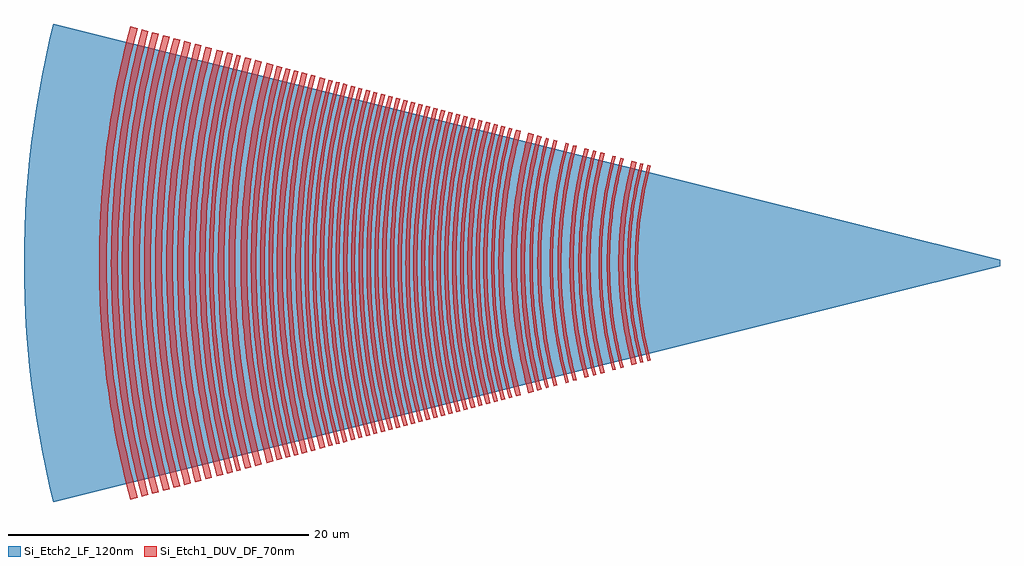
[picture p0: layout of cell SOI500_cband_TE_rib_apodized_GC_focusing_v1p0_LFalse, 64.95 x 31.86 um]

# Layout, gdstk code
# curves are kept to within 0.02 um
import gdstk
lib = gdstk.Library(unit=1e-6, precision=1e-09)
def P(c, l, *ps):  # polygons
    for p in ps: c.add(gdstk.Polygon(p, *l))
Si_Etch2_LF_120nm = (3, 0)
Si_Etch1_DUV_DF_70nm = (6, 0)

soi500_cband_te_rib_apod = lib.new_cell('SOI500_cband_TE_rib_apodized_GC_focusing_v1p0_LFalse')
P(soi500_cband_te_rib_apod, Si_Etch2_LF_120nm, [(-62.994,-15.931),(-63.511,-13.691),(-63.95,-11.435),(-64.459,-8.025),(-64.79,-4.594),(-64.91,-2.298),(-64.95,0),(-64.91,2.298),(-64.79,4.594),(-64.459,8.025),(-63.95,11.435),(-63.511,13.691),(-62.994,15.931),(0,0.225),(0,-0.225)])
P(soi500_cband_te_rib_apod, Si_Etch1_DUV_DF_70nm, [(-23.439,-6.522),(-23.835,-4.808),(-24.111,-3.071),(-24.251,-1.538),(-24.298,0),(-24.251,1.538),(-24.111,3.071),(-23.835,4.808),(-23.439,6.522),(-23.246,6.47),(-23.639,4.77),(-23.884,3.263),(-24.037,1.744),(-24.098,0),(-24.037,-1.744),(-23.884,-3.263),(-23.639,-4.77),(-23.246,-6.47)],
  [(-23.934,-6.653),(-24.293,-5.126),(-24.589,-3.356),(-24.747,-1.794),(-24.809,0),(-24.747,1.794),(-24.589,3.356),(-24.293,5.126),(-23.934,6.653),(-23.74,6.603),(-24.097,5.086),(-24.391,3.33),(-24.547,1.78),(-24.609,0),(-24.547,-1.78),(-24.391,-3.33),(-24.097,-5.086),(-23.74,-6.603)],
  [(-24.5,-6.805),(-24.913,-5.018),(-25.171,-3.433),(-25.332,-1.835),(-25.396,0),(-25.332,1.835),(-25.171,3.433),(-24.913,5.018),(-24.5,6.805),(-24.174,6.719),(-24.538,5.176),(-24.837,3.389),(-25.011,1.585),(-25.059,0),(-25.011,-1.585),(-24.837,-3.389),(-24.538,-5.176),(-24.174,-6.719)],
  [(-25.239,-7.003),(-25.662,-5.164),(-25.959,-3.298),(-26.11,-1.652),(-26.16,0),(-26.11,1.652),(-25.959,3.298),(-25.662,5.164),(-25.239,7.003),(-25.045,6.952),(-25.421,5.355),(-25.73,3.506),(-25.895,1.874),(-25.96,0),(-25.895,-1.874),(-25.73,-3.506),(-25.421,-5.355),(-25.045,-6.952)],
  [(-25.766,-7.145),(-26.153,-5.504),(-26.471,-3.604),(-26.656,-1.685),(-26.707,0),(-26.656,1.685),(-26.471,3.604),(-26.153,5.504),(-25.766,7.145),(-25.573,7.094),(-25.957,5.464),(-26.273,3.578),(-26.456,1.673),(-26.507,0),(-26.456,-1.673),(-26.273,-3.578),(-25.957,-5.464),(-25.573,-7.094)],
  [(-26.569,-7.36),(-27.016,-5.426),(-27.295,-3.712),(-27.468,-1.983),(-27.538,0),(-27.468,1.983),(-27.295,3.712),(-27.016,5.426),(-26.569,7.36),(-26.298,7.288),(-26.741,5.373),(-27.017,3.676),(-27.189,1.964),(-27.258,0),(-27.189,-1.964),(-27.017,-3.676),(-26.741,-5.373),(-26.298,-7.288)],
  [(-27.067,-7.494),(-27.473,-5.773),(-27.806,-3.779),(-27.984,-2.02),(-28.054,0),(-27.984,2.02),(-27.806,3.779),(-27.473,5.773),(-27.067,7.494),(-26.874,7.443),(-27.326,5.487),(-27.608,3.753),(-27.784,2.006),(-27.854,0),(-27.784,-2.006),(-27.608,-3.753),(-27.326,-5.487),(-26.874,-7.443)],
  [(-27.643,-7.647),(-28.107,-5.639),(-28.398,-3.858),(-28.578,-2.061),(-28.65,0),(-28.578,2.061),(-28.398,3.858),(-28.107,5.639),(-27.643,7.647),(-27.379,7.578),(-27.839,5.587),(-28.127,3.822),(-28.306,2.042),(-28.377,0),(-28.306,-2.042),(-28.127,-3.822),(-27.839,-5.587),(-27.379,-7.578)],
  [(-28.402,-7.85),(-28.878,-5.789),(-29.176,-3.96),(-29.379,-1.852),(-29.435,0),(-29.379,1.852),(-29.176,3.96),(-28.878,5.789),(-28.402,7.85),(-28.165,7.788),(-28.586,5.999),(-28.933,3.928),(-29.117,2.099),(-29.19,0),(-29.117,-2.099),(-28.933,-3.928),(-28.586,-5.999),(-28.165,-7.788)],
  [(-28.906,-7.986),(-29.391,-5.888),(-29.694,-4.028),(-29.901,-1.884),(-29.958,0),(-29.901,1.884),(-29.694,4.028),(-29.391,5.888),(-28.906,7.986),(-28.713,7.935),(-29.195,5.85),(-29.496,4.002),(-29.701,1.872),(-29.758,0),(-29.701,-1.872),(-29.496,-4.002),(-29.195,-5.85),(-28.713,-7.935)],
  [(-29.702,-8.199),(-30.199,-6.045),(-30.51,-4.136),(-30.722,-1.935),(-30.781,0),(-30.722,1.935),(-30.51,4.136),(-30.199,6.045),(-29.702,8.199),(-29.473,8.139),(-29.913,6.269),(-30.275,4.105),(-30.485,1.92),(-30.544,0),(-30.485,-1.92),(-30.275,-4.105),(-29.913,-6.269),(-29.473,-8.139)],
  [(-30.207,-8.336),(-30.48,-7.245),(-30.713,-6.145),(-31.029,-4.204),(-31.227,-2.247),(-31.286,-1.124),(-31.305,0),(-31.286,1.124),(-31.227,2.247),(-31.029,4.204),(-30.713,6.145),(-30.48,7.245),(-30.207,8.336),(-30.014,8.284),(-30.285,7.2),(-30.517,6.107),(-30.831,4.178),(-31.027,2.233),(-31.086,1.117),(-31.105,0),(-31.086,-1.117),(-31.027,-2.233),(-30.831,-4.178),(-30.517,-6.107),(-30.285,-7.2),(-30.014,-8.284)],
  [(-30.787,-8.49),(-31.065,-7.38),(-31.303,-6.26),(-31.625,-4.282),(-31.825,-2.288),(-31.885,-1.145),(-31.905,0),(-31.885,1.145),(-31.825,2.288),(-31.625,4.282),(-31.303,6.26),(-31.065,7.38),(-30.787,8.49),(-30.507,8.416),(-30.782,7.315),(-31.018,6.205),(-31.337,4.244),(-31.536,2.268),(-31.615,0),(-31.536,-2.268),(-31.337,-4.244),(-31.018,-6.205),(-30.782,-7.315),(-30.507,-8.416)],
  [(-31.395,-8.652),(-31.919,-6.38),(-32.247,-4.365),(-32.451,-2.332),(-32.513,-1.167),(-32.533,0),(-32.513,1.167),(-32.451,2.332),(-32.247,4.365),(-31.919,6.38),(-31.395,8.652),(-31.029,8.556),(-31.548,6.308),(-31.872,4.315),(-32.003,3.168),(-32.093,2.018),(-32.155,0),(-32.093,-2.018),(-32.003,-3.168),(-31.872,-4.315),(-31.548,-6.308),(-31.029,-8.556)],
  [(-32.208,-8.871),(-32.498,-7.711),(-32.746,-6.542),(-33.083,-4.474),(-33.218,-3.286),(-33.312,-2.092),(-33.376,0),(-33.312,2.092),(-33.218,3.286),(-33.083,4.474),(-32.746,6.542),(-32.498,7.711),(-32.208,8.871),(-31.889,8.786),(-32.176,7.637),(-32.422,6.478),(-32.756,4.431),(-32.89,3.254),(-32.983,2.072),(-33.046,0),(-32.983,-2.072),(-32.89,-3.254),(-32.756,-4.431),(-32.422,-6.478),(-32.176,-7.637),(-31.889,-8.786)],
  [(-32.668,-8.993),(-33.153,-6.929),(-33.374,-5.736),(-33.553,-4.536),(-33.691,-3.331),(-33.787,-2.121),(-33.851,0),(-33.787,2.121),(-33.691,3.331),(-33.553,4.536),(-33.374,5.736),(-33.153,6.929),(-32.668,8.993),(-32.474,8.943),(-32.832,7.479),(-33.072,6.297),(-33.315,4.809),(-33.462,3.612),(-33.604,1.808),(-33.651,0),(-33.604,-1.808),(-33.462,-3.612),(-33.315,-4.809),(-33.072,-6.297),(-32.832,-7.479),(-32.474,-8.943)],
  [(-33.183,-9.132),(-33.678,-7.034),(-33.902,-5.824),(-34.084,-4.606),(-34.224,-3.382),(-34.321,-2.154),(-34.386,0),(-34.321,2.154),(-34.224,3.382),(-34.084,4.606),(-33.902,5.824),(-33.678,7.034),(-33.183,9.132),(-32.932,9.066),(-33.423,6.983),(-33.646,5.781),(-33.826,4.572),(-34.041,2.443),(-34.105,1.222),(-34.126,0),(-34.105,-1.222),(-34.041,-2.443),(-33.826,-4.572),(-33.646,-5.781),(-33.423,-6.983),(-32.932,-9.066)],
  [(-33.67,-9.262),(-34.171,-7.136),(-34.399,-5.907),(-34.583,-4.672),(-34.724,-3.43),(-34.823,-2.186),(-34.889,0),(-34.823,2.186),(-34.724,3.43),(-34.583,4.672),(-34.399,5.907),(-34.171,7.136),(-33.67,9.262),(-33.425,9.198),(-33.923,7.085),(-34.149,5.865),(-34.332,4.639),(-34.472,3.406),(-34.57,2.17),(-34.636,0),(-34.57,-2.17),(-34.472,-3.406),(-34.332,-4.639),(-34.149,-5.865),(-33.923,-7.085),(-33.425,-9.198)],
  [(-34.204,-9.405),(-34.51,-8.175),(-34.774,-6.935),(-35.131,-4.743),(-35.275,-3.483),(-35.374,-2.219),(-35.442,0),(-35.374,2.219),(-35.275,3.483),(-35.131,4.743),(-34.774,6.935),(-34.51,8.175),(-34.204,9.405),(-33.911,9.328),(-34.215,8.107),(-34.477,6.877),(-34.831,4.704),(-34.973,3.454),(-35.072,2.2),(-35.139,0),(-35.072,-2.2),(-34.973,-3.454),(-34.831,-4.704),(-34.477,-6.877),(-34.215,-8.107),(-33.911,-9.328)],
  [(-34.673,-9.531),(-34.984,-8.285),(-35.252,-7.027),(-35.613,-4.807),(-35.759,-3.53),(-35.86,-2.248),(-35.928,0),(-35.86,2.248),(-35.759,3.53),(-35.613,4.807),(-35.252,7.027),(-34.984,8.285),(-34.673,9.531),(-34.445,9.471),(-34.754,8.232),(-35.02,6.982),(-35.379,4.776),(-35.524,3.507),(-35.624,2.234),(-35.692,0),(-35.624,-2.234),(-35.524,-3.507),(-35.379,-4.776),(-35.02,-6.982),(-34.754,-8.232),(-34.445,-9.471)],
  [(-35.194,-9.67),(-35.509,-8.406),(-35.78,-7.13),(-36.147,-4.878),(-36.375,-2.607),(-36.443,-1.304),(-36.466,0),(-36.443,1.304),(-36.375,2.607),(-36.147,4.878),(-35.78,7.13),(-35.509,8.406),(-35.194,9.67),(-34.915,9.597),(-35.434,7.393),(-35.669,6.12),(-35.861,4.84),(-36.088,2.587),(-36.155,1.294),(-36.178,0),(-36.155,-1.294),(-36.088,-2.587),(-35.861,-4.84),(-35.669,-6.12),(-35.434,-7.393),(-34.915,-9.597)],
  [(-35.684,-9.802),(-36.215,-7.552),(-36.455,-6.252),(-36.651,-4.944),(-36.801,-3.631),(-36.905,-2.313),(-36.975,0),(-36.905,2.313),(-36.801,3.631),(-36.651,4.944),(-36.455,6.252),(-36.215,7.552),(-35.684,9.802),(-35.434,9.736),(-35.961,7.5),(-36.2,6.209),(-36.394,4.91),(-36.543,3.606),(-36.646,2.297),(-36.716,0),(-36.646,-2.297),(-36.543,-3.606),(-36.394,-4.91),(-36.2,-6.209),(-35.961,-7.5),(-35.434,-9.736)],
  [(-36.178,-9.935),(-36.716,-7.653),(-36.959,-6.336),(-37.158,-5.011),(-37.309,-3.679),(-37.415,-2.344),(-37.486,0),(-37.415,2.344),(-37.309,3.679),(-37.158,5.011),(-36.959,6.336),(-36.716,7.653),(-36.178,9.935),(-35.926,9.868),(-36.46,7.601),(-36.702,6.293),(-36.899,4.977),(-37.049,3.654),(-37.154,2.328),(-37.225,0),(-37.154,-2.328),(-37.049,-3.654),(-36.899,-4.977),(-36.702,-6.293),(-36.46,-7.601),(-35.926,-9.868)],
  [(-36.689,-10.071),(-37.018,-8.755),(-37.3,-7.425),(-37.682,-5.079),(-37.92,-2.714),(-37.991,-1.358),(-38.015,0),(-37.991,1.358),(-37.92,2.714),(-37.682,5.079),(-37.3,7.425),(-37.018,8.755),(-36.689,10.071),(-36.419,10),(-36.746,8.692),(-37.026,7.372),(-37.405,5.043),(-37.642,2.695),(-37.712,1.348),(-37.736,0),(-37.712,-1.348),(-37.642,-2.695),(-37.405,-5.043),(-37.026,-7.372),(-36.746,-8.692),(-36.419,-10)],
  [(-37.182,-10.204),(-37.735,-7.861),(-37.985,-6.507),(-38.189,-5.146),(-38.345,-3.779),(-38.453,-2.407),(-38.526,0),(-38.453,2.407),(-38.345,3.779),(-38.189,5.146),(-37.985,6.507),(-37.735,7.861),(-37.182,10.204),(-36.93,10.137),(-37.479,7.809),(-37.728,6.464),(-37.93,5.112),(-38.17,2.732),(-38.241,1.367),(-38.265,0),(-38.241,-1.367),(-38.17,-2.732),(-37.93,-5.112),(-37.728,-6.464),(-37.479,-7.809),(-36.93,-10.137)],
  [(-37.684,-10.338),(-38.243,-7.965),(-38.497,-6.593),(-38.704,-5.214),(-38.861,-3.829),(-38.97,-2.439),(-39.045,0),(-38.97,2.439),(-38.861,3.829),(-38.704,5.214),(-38.497,6.593),(-38.243,7.965),(-37.684,10.338),(-37.424,10.269),(-37.759,8.926),(-38.047,7.571),(-38.437,5.179),(-38.593,3.803),(-38.702,2.422),(-38.776,0),(-38.702,-2.422),(-38.593,-3.803),(-38.437,-5.179),(-38.047,-7.571),(-37.759,-8.926),(-37.424,-10.269)],
  [(-38.184,-10.473),(-38.751,-8.067),(-39.008,-6.678),(-39.217,-5.282),(-39.464,-2.823),(-39.539,-1.412),(-39.563,0),(-39.539,1.412),(-39.464,2.823),(-39.217,5.282),(-39.008,6.678),(-38.751,8.067),(-38.184,10.473),(-37.925,10.404),(-38.488,8.014),(-38.744,6.634),(-38.951,5.247),(-39.11,3.853),(-39.22,2.454),(-39.295,0),(-39.22,-2.454),(-39.11,-3.853),(-38.951,-5.247),(-38.744,-6.634),(-38.488,-8.014),(-37.925,-10.404)],
  [(-38.68,-10.605),(-39.254,-8.17),(-39.514,-6.764),(-39.726,-5.348),(-39.888,-3.927),(-40,-2.502),(-40.076,0),(-40,2.502),(-39.888,3.927),(-39.726,5.348),(-39.514,6.764),(-39.254,8.17),(-38.68,10.605),(-38.426,10.538),(-38.996,8.117),(-39.255,6.72),(-39.465,5.314),(-39.714,2.84),(-39.788,1.421),(-39.813,0),(-39.788,-1.421),(-39.714,-2.84),(-39.465,-5.314),(-39.255,-6.72),(-38.996,-8.117),(-38.426,-10.538)],
  [(-39.172,-10.737),(-39.522,-9.333),(-39.824,-7.917),(-40.231,-5.415),(-40.395,-3.977),(-40.509,-2.533),(-40.586,0),(-40.509,2.533),(-40.395,3.977),(-40.231,5.415),(-39.824,7.917),(-39.522,9.333),(-39.172,10.737),(-38.921,10.671),(-39.269,9.274),(-39.569,7.867),(-39.973,5.381),(-40.226,2.876),(-40.301,1.439),(-40.326,0),(-40.301,-1.439),(-40.226,-2.876),(-39.973,-5.381),(-39.569,-7.867),(-39.269,-9.274),(-38.921,-10.671)],
  [(-39.687,-10.875),(-40.041,-9.452),(-40.346,-8.018),(-40.759,-5.485),(-40.925,-4.027),(-41.039,-2.565),(-41.093,-1.467),(-41.118,0),(-41.093,1.467),(-41.039,2.565),(-40.925,4.027),(-40.759,5.485),(-40.346,8.018),(-40.041,9.452),(-39.687,10.875),(-39.414,10.803),(-39.998,8.321),(-40.264,6.889),(-40.479,5.448),(-40.644,4),(-40.758,2.548),(-40.836,0),(-40.758,-2.548),(-40.644,-4),(-40.479,-5.448),(-40.069,-7.964),(-39.766,-9.389),(-39.414,-10.803)],
  [(-40.174,-11.005),(-40.768,-8.478),(-41.039,-7.019),(-41.258,-5.55),(-41.426,-4.075),(-41.543,-2.596),(-41.622,0),(-41.543,2.596),(-41.426,4.075),(-41.258,5.55),(-41.039,7.019),(-40.768,8.478),(-40.174,11.005),(-39.928,10.94),(-40.285,9.509),(-40.591,8.065),(-40.848,6.612),(-41.006,5.517),(-41.265,2.949),(-41.342,1.475),(-41.368,0),(-41.342,-1.475),(-41.265,-2.949),(-41.006,-5.517),(-40.848,-6.612),(-40.591,-8.065),(-40.285,-9.509),(-39.928,-10.94)],
  [(-40.686,-11.142),(-41.049,-9.685),(-41.361,-8.216),(-41.784,-5.619),(-42.047,-3.003),(-42.126,-1.503),(-42.152,0),(-42.126,1.503),(-42.047,3.003),(-41.784,5.619),(-41.361,8.216),(-41.049,9.685),(-40.686,11.142),(-40.415,11.071),(-40.776,9.622),(-41.086,8.162),(-41.506,5.583),(-41.768,2.984),(-41.846,1.493),(-41.872,0),(-41.846,-1.493),(-41.768,-2.984),(-41.506,-5.583),(-41.086,-8.162),(-40.776,-9.622),(-40.415,-11.071)],
  [(-41.19,-11.278),(-41.801,-8.687),(-42.077,-7.192),(-42.303,-5.687),(-42.437,-4.556),(-42.569,-3.04),(-42.649,-1.52),(-42.675,0),(-42.649,1.52),(-42.569,3.04),(-42.437,4.556),(-42.303,5.687),(-42.077,7.192),(-41.801,8.687),(-41.19,11.278),(-40.926,11.208),(-41.206,10.109),(-41.533,8.633),(-41.808,7.147),(-42.032,5.652),(-42.297,3.021),(-42.376,1.511),(-42.402,0),(-42.376,-1.511),(-42.297,-3.021),(-42.032,-5.652),(-41.808,-7.147),(-41.533,-8.633),(-41.206,-10.109),(-40.926,-11.208)],
  [(-41.677,-11.407),(-42.049,-9.916),(-42.293,-8.789),(-42.574,-7.276),(-42.801,-5.754),(-42.975,-4.225),(-43.096,-2.692),(-43.163,-1.154),(-43.178,0),(-43.163,1.154),(-43.096,2.692),(-42.975,4.225),(-42.801,5.754),(-42.574,7.276),(-42.293,8.789),(-42.049,9.916),(-41.677,11.407),(-41.432,11.343),(-41.802,9.859),(-42.191,7.987),(-42.444,6.478),(-42.685,4.581),(-42.865,2.294),(-42.925,0),(-42.865,-2.294),(-42.685,-4.581),(-42.444,-6.478),(-42.191,-7.987),(-41.802,-9.859),(-41.432,-11.343)],
  [(-42.188,-11.545),(-42.565,-10.035),(-42.889,-8.513),(-43.327,-5.823),(-43.503,-4.276),(-43.599,-3.112),(-43.681,-1.557),(-43.708,0),(-43.681,1.557),(-43.599,3.112),(-43.503,4.276),(-43.327,5.823),(-42.889,8.513),(-42.565,10.035),(-42.188,11.545),(-41.917,11.473),(-42.292,9.972),(-42.614,8.459),(-43.049,5.786),(-43.224,4.249),(-43.32,3.092),(-43.401,1.547),(-43.428,0),(-43.401,-1.547),(-43.32,-3.092),(-43.224,-4.249),(-43.049,-5.786),(-42.614,-8.459),(-42.292,-9.972),(-41.917,-11.473)],
  [(-42.671,-11.675),(-43.052,-10.147),(-43.379,-8.608),(-43.59,-7.446),(-43.822,-5.888),(-44,-4.324),(-44.124,-2.754),(-44.181,-1.575),(-44.208,0),(-44.181,1.575),(-44.124,2.754),(-44,4.324),(-43.822,5.888),(-43.59,7.446),(-43.379,8.608),(-43.052,10.147),(-42.671,11.675),(-42.429,11.611),(-42.808,10.091),(-43.134,8.56),(-43.406,7.018),(-43.67,5.078),(-43.82,3.52),(-43.897,2.348),(-43.958,0),(-43.897,-2.348),(-43.82,-3.52),(-43.67,-5.078),(-43.406,-7.018),(-43.134,-8.56),(-42.808,-10.091),(-42.429,-11.611)],
  [(-43.174,-11.809),(-43.559,-10.265),(-43.891,-8.707),(-44.103,-7.531),(-44.339,-5.956),(-44.519,-4.374),(-44.643,-2.786),(-44.701,-1.592),(-44.729,0),(-44.701,1.592),(-44.643,2.786),(-44.519,4.374),(-44.339,5.956),(-44.167,7.138),(-43.891,8.707),(-43.559,10.265),(-43.174,11.809),(-42.916,11.741),(-43.387,9.819),(-43.702,8.267),(-44.021,6.313),(-44.213,4.742),(-44.4,2.374),(-44.462,0),(-44.4,-2.374),(-44.213,-4.742),(-44.021,-6.313),(-43.702,-8.267),(-43.387,-9.819),(-42.916,-11.741)],
  [(-43.692,-11.948),(-44.082,-10.385),(-44.417,-8.809),(-44.697,-7.222),(-44.87,-6.026),(-45.053,-4.424),(-45.152,-3.22),(-45.237,-1.612),(-45.265,0),(-45.237,1.612),(-45.152,3.22),(-45.053,4.424),(-44.87,6.026),(-44.697,7.222),(-44.417,8.809),(-44.082,10.385),(-43.692,11.948),(-43.423,11.877),(-43.811,10.323),(-44.066,9.149),(-44.358,7.574),(-44.594,5.99),(-44.736,4.797),(-44.875,3.201),(-44.959,1.602),(-44.987,0),(-44.959,-1.602),(-44.875,-3.201),(-44.736,-4.797),(-44.594,-5.99),(-44.358,-7.574),(-44.066,-9.149),(-43.811,-10.323),(-43.423,-11.877)],
  [(-44.164,-12.074),(-44.558,-10.495),(-44.897,-8.903),(-45.114,-7.701),(-45.355,-6.09),(-45.539,-4.472),(-45.667,-2.848),(-45.726,-1.628),(-45.754,0),(-45.726,1.628),(-45.667,2.848),(-45.539,4.472),(-45.355,6.09),(-45.114,7.701),(-44.897,8.903),(-44.558,10.495),(-44.164,12.074),(-43.943,12.016),(-44.335,10.444),(-44.748,8.461),(-45.015,6.862),(-45.227,5.256),(-45.382,3.643),(-45.461,2.43),(-45.525,0),(-45.461,-2.43),(-45.382,-3.643),(-45.227,-5.256),(-45.015,-6.862),(-44.748,-8.461),(-44.335,-10.444),(-43.943,-12.016)],
  [(-44.668,-12.21),(-44.973,-11.013),(-45.329,-9.406),(-45.629,-7.787),(-45.873,-6.158),(-46.059,-4.522),(-46.188,-2.88),(-46.26,-1.235),(-46.276,0),(-46.26,1.235),(-46.188,2.88),(-46.059,4.522),(-45.873,6.158),(-45.629,7.787),(-45.329,9.406),(-44.973,11.013),(-44.668,12.21),(-44.418,12.144),(-44.905,10.155),(-45.231,8.55),(-45.502,6.935),(-45.76,4.904),(-45.953,2.456),(-46.017,0),(-45.953,-2.456),(-45.76,-4.904),(-45.502,-6.935),(-45.231,-8.55),(-44.905,-10.155),(-44.418,-12.144)],
  [(-45.257,-12.366),(-45.565,-11.156),(-45.926,-9.528),(-46.23,-7.887),(-46.476,-6.238),(-46.665,-4.581),(-46.796,-2.917),(-46.869,-1.252),(-46.885,0),(-46.869,1.252),(-46.796,2.917),(-46.665,4.581),(-46.476,6.238),(-46.23,7.887),(-45.926,9.528),(-45.565,11.156),(-45.257,12.366),(-44.91,12.275),(-45.31,10.669),(-45.655,9.05),(-45.876,7.828),(-46.12,6.191),(-46.308,4.546),(-46.438,2.895),(-46.51,1.242),(-46.526,0),(-46.51,-1.242),(-46.438,-2.895),(-46.308,-4.546),(-46.12,-6.191),(-45.876,-7.828),(-45.655,-9.05),(-45.31,-10.669),(-44.91,-12.275)],
  [(-45.847,-12.525),(-46.159,-11.298),(-46.525,-9.649),(-46.832,-7.988),(-47.082,-6.317),(-47.274,-4.639),(-47.378,-3.376),(-47.467,-1.689),(-47.496,0),(-47.467,1.689),(-47.378,3.376),(-47.274,4.639),(-47.082,6.317),(-46.832,7.988),(-46.525,9.649),(-46.159,11.298),(-45.847,12.525),(-45.552,12.447),(-45.862,11.227),(-46.226,9.588),(-46.531,7.938),(-46.78,6.277),(-46.97,4.61),(-47.074,3.355),(-47.162,1.678),(-47.191,0),(-47.162,-1.678),(-47.074,-3.355),(-46.97,-4.61),(-46.78,-6.277),(-46.531,-7.938),(-46.226,-9.588),(-45.862,-11.227),(-45.552,-12.447)],
  [(-46.452,-12.687),(-46.865,-11.028),(-47.221,-9.354),(-47.45,-8.091),(-47.703,-6.399),(-47.896,-4.699),(-48.03,-2.993),(-48.092,-1.711),(-48.122,0),(-48.092,1.711),(-48.03,2.993),(-47.896,4.699),(-47.703,6.399),(-47.45,8.091),(-47.221,9.354),(-46.865,11.028),(-46.452,12.687),(-46.088,12.591),(-46.499,10.943),(-46.852,9.282),(-47.079,8.029),(-47.33,6.35),(-47.522,4.663),(-47.655,2.97),(-47.716,1.698),(-47.746,0),(-47.716,-1.698),(-47.655,-2.97),(-47.522,-4.663),(-47.33,-6.35),(-47.079,-8.029),(-46.852,-9.282),(-46.499,-10.943),(-46.088,-12.591)],
  [(-46.976,-12.827),(-47.394,-11.15),(-47.669,-9.881),(-47.984,-8.181),(-48.24,-6.47),(-48.436,-4.751),(-48.543,-3.457),(-48.634,-1.73),(-48.664,0),(-48.634,1.73),(-48.543,3.457),(-48.436,4.751),(-48.24,6.47),(-47.984,8.181),(-47.669,9.881),(-47.394,11.15),(-46.976,12.827),(-46.706,12.756),(-47.217,10.668),(-47.56,8.982),(-47.844,7.285),(-48.115,5.152),(-48.317,2.579),(-48.385,0),(-48.317,-2.579),(-48.115,-5.152),(-47.844,-7.285),(-47.56,-8.982),(-47.217,-10.668),(-46.706,-12.756)],
  [(-47.529,-12.975),(-47.952,-11.279),(-48.231,-9.996),(-48.55,-8.275),(-48.808,-6.544),(-49.007,-4.805),(-49.115,-3.498),(-49.207,-1.75),(-49.237,0),(-49.207,1.75),(-49.115,3.498),(-49.007,4.805),(-48.808,6.544),(-48.55,8.275),(-48.231,9.996),(-47.952,11.279),(-47.529,12.975),(-47.224,12.895),(-47.645,11.208),(-48.007,9.507),(-48.309,7.794),(-48.496,6.503),(-48.693,4.775),(-48.801,3.476),(-48.892,1.739),(-48.922,0),(-48.892,-1.739),(-48.801,-3.476),(-48.693,-4.775),(-48.496,-6.503),(-48.309,-7.794),(-48.007,-9.507),(-47.645,-11.208),(-47.224,-12.895)],
  [(-48.12,-13.134),(-48.549,-11.416),(-48.83,-10.118),(-49.153,-8.377),(-49.415,-6.624),(-49.615,-4.865),(-49.754,-3.098),(-49.832,-1.328),(-49.849,0),(-49.832,1.328),(-49.754,3.098),(-49.615,4.865),(-49.415,6.624),(-49.153,8.377),(-48.83,10.118),(-48.549,11.416),(-48.12,13.134),(-47.77,13.042),(-48.196,11.335),(-48.561,9.615),(-48.867,7.883),(-49.056,6.577),(-49.255,4.83),(-49.393,3.076),(-49.47,1.319),(-49.487,0),(-49.47,-1.319),(-49.393,-3.076),(-49.255,-4.83),(-49.056,-6.577),(-48.867,-7.883),(-48.561,-9.615),(-48.196,-11.335),(-47.77,-13.042)],
  [(-48.785,-13.311),(-49.219,-11.571),(-49.592,-9.815),(-49.832,-8.49),(-50.097,-6.714),(-50.256,-5.377),(-50.412,-3.588),(-50.506,-1.796),(-50.537,0),(-50.506,1.796),(-50.412,3.588),(-50.256,5.377),(-50.097,6.714),(-49.832,8.49),(-49.592,9.815),(-49.219,11.571),(-48.785,13.311),(-48.362,13.2),(-48.793,11.473),(-49.163,9.732),(-49.401,8.418),(-49.664,6.657),(-49.821,5.331),(-49.976,3.558),(-50.069,1.78),(-50.1,0),(-50.069,-1.78),(-49.976,-3.558),(-49.821,-5.331),(-49.664,-6.657),(-49.401,-8.418),(-49.163,-9.732),(-48.793,-11.473),(-48.362,-13.2)],
  [(-49.554,-13.518),(-49.994,-11.75),(-50.373,-9.968),(-50.617,-8.621),(-50.886,-6.818),(-51.093,-5.006),(-51.206,-3.644),(-51.301,-1.823),(-51.333,0),(-51.301,1.823),(-51.206,3.644),(-51.093,5.006),(-50.886,6.818),(-50.617,8.621),(-50.373,9.968),(-49.994,11.75),(-49.554,13.518),(-49.137,13.408),(-49.471,12.093),(-49.862,10.328),(-50.192,8.55),(-50.459,6.762),(-50.664,4.965),(-50.776,3.614),(-50.87,1.808),(-50.902,0),(-50.87,-1.808),(-50.776,-3.614),(-50.664,-4.965),(-50.459,-6.762),(-50.192,-8.55),(-49.862,-10.328),(-49.471,-12.093),(-49.137,-13.408)],
  [(-50.239,-13.702),(-50.686,-11.91),(-51.07,-10.103),(-51.317,-8.739),(-51.59,-6.91),(-51.753,-5.534),(-51.914,-3.694),(-52.011,-1.848),(-52.043,0),(-52.011,1.848),(-51.914,3.694),(-51.753,5.534),(-51.59,6.91),(-51.317,8.739),(-51.07,10.103),(-50.686,11.91),(-50.239,13.702),(-49.83,13.594),(-50.169,12.261),(-50.566,10.471),(-50.9,8.669),(-51.171,6.855),(-51.378,5.034),(-51.522,3.206),(-51.588,1.833),(-51.62,0),(-51.602,-1.375),(-51.522,-3.206),(-51.378,-5.034),(-51.171,-6.855),(-50.9,-8.669),(-50.566,-10.471),(-50.169,-12.261),(-49.83,-13.594)],
  [(-50.802,-13.853),(-51.253,-12.041),(-51.642,-10.214),(-51.891,-8.834),(-52.167,-6.987),(-52.379,-5.13),(-52.525,-3.268),(-52.593,-1.868),(-52.625,0),(-52.593,1.868),(-52.525,3.268),(-52.379,5.13),(-52.167,6.987),(-51.966,8.373),(-51.642,10.214),(-51.253,12.041),(-50.802,13.853),(-50.529,13.781),(-50.978,11.978),(-51.365,10.16),(-51.758,7.87),(-52.001,6.028),(-52.244,3.251),(-52.311,1.858),(-52.343,0),(-52.311,-1.858),(-52.244,-3.251),(-52.001,-6.028),(-51.758,-7.87),(-51.365,-10.16),(-50.978,-11.978),(-50.529,-13.781)],
  [(-51.431,-14.021),(-51.888,-12.187),(-52.281,-10.338),(-52.609,-8.476),(-52.813,-7.071),(-53.026,-5.192),(-53.175,-3.307),(-53.258,-1.419),(-53.276,0),(-53.258,1.419),(-53.175,3.307),(-53.026,5.192),(-52.813,7.071),(-52.609,8.476),(-52.281,10.338),(-51.888,12.187),(-51.431,14.021),(-51.043,13.919),(-51.497,12.097),(-51.887,10.261),(-52.213,8.413),(-52.415,7.019),(-52.627,5.154),(-52.775,3.283),(-52.857,1.408),(-52.875,0),(-52.857,-1.408),(-52.775,-3.283),(-52.627,-5.154),(-52.415,-7.019),(-52.213,-8.413),(-51.887,-10.261),(-51.497,-12.097),(-51.043,-13.919)],
  [(-52.115,-14.204),(-52.579,-12.347),(-52.977,-10.473),(-53.31,-8.586),(-53.515,-7.165),(-53.685,-5.737),(-53.851,-3.829),(-53.952,-1.915),(-53.985,0),(-53.952,1.915),(-53.851,3.829),(-53.685,5.737),(-53.515,7.165),(-53.31,8.586),(-52.977,10.473),(-52.579,12.347),(-52.115,14.204),(-51.689,14.092),(-52.149,12.248),(-52.544,10.389),(-52.874,8.517),(-53.078,7.107),(-53.246,5.691),(-53.411,3.798),(-53.511,1.9),(-53.544,0),(-53.511,-1.9),(-53.411,-3.798),(-53.246,-5.691),(-53.078,-7.107),(-52.874,-8.517),(-52.544,-10.389),(-52.149,-12.248),(-51.689,-14.092)],
  [(-52.855,-14.402),(-53.325,-12.52),(-53.728,-10.619),(-53.988,-9.186),(-54.275,-7.264),(-54.495,-5.334),(-54.647,-3.397),(-54.732,-1.458),(-54.751,0),(-54.732,1.458),(-54.647,3.397),(-54.495,5.334),(-54.275,7.264),(-53.988,9.186),(-53.728,10.619),(-53.325,12.52),(-52.855,14.402),(-52.44,14.293),(-52.907,12.423),(-53.213,11.01),(-53.565,9.115),(-53.85,7.208),(-54.068,5.293),(-54.219,3.371),(-54.303,1.446),(-54.322,0),(-54.303,-1.446),(-54.219,-3.371),(-54.068,-5.293),(-53.85,-7.208),(-53.565,-9.115),(-53.213,-11.01),(-52.907,-12.423),(-52.44,-14.293)],
  [(-53.558,-14.591),(-54.033,-12.683),(-54.442,-10.758),(-54.705,-9.305),(-54.995,-7.359),(-55.17,-5.893),(-55.341,-3.933),(-55.444,-1.968),(-55.478,0),(-55.444,1.968),(-55.341,3.933),(-55.17,5.893),(-54.995,7.359),(-54.705,9.305),(-54.442,10.758),(-54.033,12.683),(-53.558,14.591),(-53.141,14.481),(-53.613,12.586),(-53.924,11.154),(-54.28,9.234),(-54.568,7.303),(-54.789,5.362),(-54.943,3.416),(-55.028,1.465),(-55.047,0),(-55.028,-1.465),(-54.943,-3.416),(-54.789,-5.362),(-54.568,-7.303),(-54.28,-9.234),(-53.924,-11.154),(-53.613,-12.586),(-53.141,-14.481)],
  [(-54.273,-14.782),(-54.755,-12.849),(-55.17,-10.899),(-55.436,-9.427),(-55.73,-7.456),(-55.907,-5.971),(-56.08,-3.984),(-56.184,-1.994),(-56.219,0),(-56.184,1.994),(-56.08,3.984),(-55.907,5.971),(-55.73,7.456),(-55.436,9.427),(-55.17,10.899),(-54.755,12.849),(-54.273,14.782),(-53.838,14.668),(-54.317,12.748),(-54.728,10.813),(-54.992,9.353),(-55.284,7.397),(-55.459,5.924),(-55.631,3.953),(-55.734,1.978),(-55.769,0),(-55.734,-1.978),(-55.631,-3.953),(-55.459,-5.924),(-55.284,-7.397),(-54.992,-9.353),(-54.728,-10.813),(-54.317,-12.748),(-53.838,-14.668)],
  [(-54.988,-14.973),(-55.476,-13.016),(-55.896,-11.04),(-56.166,-9.549),(-56.464,-7.552),(-56.693,-5.546),(-56.818,-4.036),(-56.924,-2.02),(-56.959,0),(-56.924,2.02),(-56.818,4.036),(-56.693,5.546),(-56.464,7.552),(-56.166,9.549),(-55.896,11.04),(-55.476,13.016),(-54.988,14.973),(-54.558,14.86),(-55.042,12.916),(-55.459,10.955),(-55.727,9.476),(-56.023,7.494),(-56.25,5.503),(-56.407,3.505),(-56.479,2.004),(-56.514,0),(-56.479,-2.004),(-56.407,-3.505),(-56.25,-5.503),(-56.023,-7.494),(-55.727,-9.476),(-55.459,-10.955),(-55.042,-12.916),(-54.558,-14.86)],
  [(-55.693,-15.163),(-56.187,-13.181),(-56.613,-11.179),(-56.886,-9.671),(-57.188,-7.648),(-57.419,-5.616),(-57.58,-3.577),(-57.654,-2.044),(-57.689,0),(-57.654,2.044),(-57.58,3.577),(-57.419,5.616),(-57.188,7.648),(-56.886,9.671),(-56.613,11.179),(-56.187,13.181),(-55.693,15.163),(-55.261,15.049),(-55.752,13.08),(-56.075,11.592),(-56.445,9.597),(-56.745,7.589),(-56.974,5.573),(-57.134,3.55),(-57.207,2.029),(-57.242,0),(-57.207,-2.029),(-57.134,-3.55),(-56.974,-5.573),(-56.745,-7.589),(-56.445,-9.597),(-56.075,-11.592),(-55.752,-13.08),(-55.261,-15.049)],
  [(-56.41,-15.354),(-56.911,-13.347),(-57.341,-11.321),(-57.617,-9.793),(-57.923,-7.744),(-58.106,-6.202),(-58.287,-4.139),(-58.395,-2.071),(-58.431,0),(-58.395,2.071),(-58.287,4.139),(-58.158,5.687),(-57.923,7.744),(-57.617,9.793),(-57.341,11.321),(-56.911,13.347),(-56.41,15.354),(-55.977,15.241),(-56.474,13.246),(-56.801,11.74),(-57.175,9.719),(-57.479,7.686),(-57.712,5.644),(-57.84,4.108),(-57.947,2.055),(-57.983,0),(-57.947,-2.055),(-57.84,-4.108),(-57.712,-5.644),(-57.479,-7.686),(-57.175,-9.719),(-56.801,-11.74),(-56.474,-13.246),(-55.977,-15.241)],
  [(-57.115,-15.544),(-57.501,-14.021),(-57.956,-11.974),(-58.338,-9.913),(-58.647,-7.839),(-58.885,-5.756),(-59.015,-4.189),(-59.125,-2.096),(-59.161,0),(-59.125,2.096),(-59.015,4.189),(-58.885,5.756),(-58.647,7.839),(-58.338,9.913),(-57.956,11.974),(-57.501,14.021),(-57.115,15.544),(-56.667,15.426),(-57.051,13.913),(-57.502,11.882),(-57.881,9.837),(-58.188,7.779),(-58.372,6.23),(-58.553,4.157),(-58.662,2.08),(-58.698,0),(-58.662,-2.08),(-58.553,-4.157),(-58.372,-6.23),(-58.188,-7.779),(-57.881,-9.837),(-57.502,-11.882),(-57.051,-13.913),(-56.667,-15.426)],
  [(-57.877,-15.747),(-58.39,-13.688),(-58.832,-11.611),(-59.201,-9.52),(-59.43,-7.943),(-59.67,-5.832),(-59.802,-4.245),(-59.913,-2.123),(-59.95,0),(-59.913,2.123),(-59.802,4.245),(-59.67,5.832),(-59.43,7.943),(-59.201,9.52),(-58.832,11.611),(-58.39,13.688),(-57.877,15.747),(-57.39,15.619),(-57.899,13.575),(-58.337,11.515),(-58.703,9.441),(-58.93,7.877),(-59.168,5.784),(-59.299,4.21),(-59.409,2.106),(-59.446,0),(-59.409,-2.106),(-59.299,-4.21),(-59.168,-5.784),(-58.93,-7.877),(-58.703,-9.441),(-58.337,-11.515),(-57.899,-13.575),(-57.39,-15.619)])

lib.write_gds('SOI500_cband_TE_rib_apodized_GC_focusing_v1p0_LFalse.gds')
